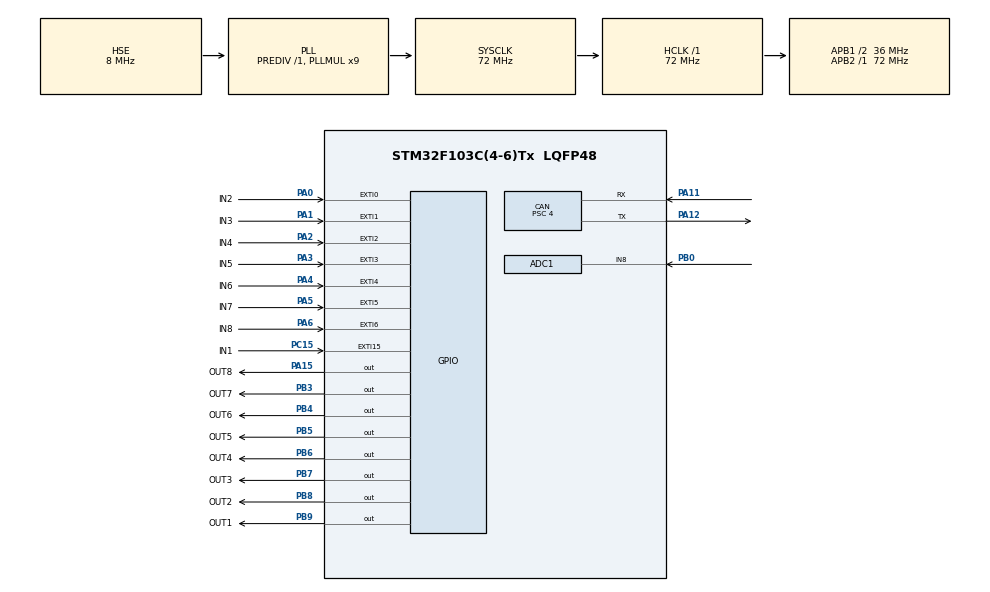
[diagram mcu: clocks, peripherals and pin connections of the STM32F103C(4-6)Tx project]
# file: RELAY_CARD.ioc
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ADC1.Channel-0\#ChannelRegularConversion=ADC_CHANNEL_8
ADC1.NbrOfConversionFlag=1
ADC1.Rank-0\#ChannelRegularConversion=1
ADC1.SamplingTime-0\#ChannelRegularConversion=ADC_SAMPLETIME_1CYCLE_5
ADC1.master=1
CAN.BS1=CAN_BS1_15TQ
CAN.BS2=CAN_BS2_2TQ
CAN.CalculateBaudRate=500000
CAN.CalculateTimeBit=2000
CAN.CalculateTimeQuantum=111.11111111111111
CAN.Prescaler=4
FREERTOS.Tasks01=defaultTask,24,128,StartDefaultTask,Default,NULL,Dynamic,NULL,NULL;can_task,24,128,StartCan,Default,NULL,Dynamic,NULL,NULL;triggered_relay,24,128,Startrelay,Default,NULL,Dynamic,NULL,NULL
Mcu.Family=STM32F1
Mcu.Name=STM32F103C(4-6)Tx
Mcu.Package=LQFP48
NVIC.EXTI0_IRQn=true\:5\:0\:false\:false\:true\:true\:true\:true\:true
NVIC.EXTI15_10_IRQn=true\:5\:0\:false\:false\:true\:true\:true\:true\:true
NVIC.EXTI1_IRQn=true\:5\:0\:false\:false\:true\:true\:true\:true\:true
NVIC.EXTI2_IRQn=true\:5\:0\:false\:false\:true\:true\:true\:true\:true
NVIC.EXTI3_IRQn=true\:5\:0\:false\:false\:true\:true\:true\:true\:true
NVIC.EXTI4_IRQn=true\:5\:0\:false\:false\:true\:true\:true\:true\:true
NVIC.EXTI9_5_IRQn=true\:5\:0\:false\:false\:true\:true\:true\:true\:true
NVIC.PriorityGroup=NVIC_PRIORITYGROUP_4
NVIC.TIM1_UP_IRQn=true\:15\:0\:false\:false\:true\:false\:false\:true\:true
NVIC.TimeBase=TIM1_UP_IRQn
NVIC.TimeBaseIP=TIM1
PA0-WKUP.GPIO_Label=IN2
PA0-WKUP.GPIO_PuPd=GPIO_PULLUP
PA0-WKUP.Signal=GPXTI0
PA1.GPIO_Label=IN3
PA1.GPIO_PuPd=GPIO_PULLUP
PA1.Signal=GPXTI1
PA11.Mode=CAN_Activate
PA11.Signal=CAN_RX
PA12.Mode=CAN_Activate
PA12.Signal=CAN_TX
PA13.Mode=Serial_Wire
PA13.Signal=SYS_JTMS-SWDIO
PA14.Mode=Serial_Wire
PA14.Signal=SYS_JTCK-SWCLK
PA15.GPIO_Label=OUT8
PA15.Signal=GPIO_Output
PA2.GPIO_Label=IN4
PA2.GPIO_PuPd=GPIO_PULLUP
PA2.Signal=GPXTI2
PA3.GPIO_Label=IN5
PA3.GPIO_PuPd=GPIO_PULLUP
PA3.Signal=GPXTI3
PA4.GPIO_Label=IN6
PA4.GPIO_PuPd=GPIO_PULLUP
PA4.Signal=GPXTI4
PA5.GPIO_Label=IN7
PA5.GPIO_PuPd=GPIO_PULLUP
PA5.Signal=GPXTI5
PA6.GPIO_Label=IN8
PA6.GPIO_PuPd=GPIO_PULLUP
PA6.Signal=GPXTI6
PB0.Signal=ADCx_IN8
PB3.GPIO_Label=OUT7
PB3.Signal=GPIO_Output
PB4.GPIO_Label=OUT6
PB4.Signal=GPIO_Output
PB5.GPIO_Label=OUT5
PB5.Signal=GPIO_Output
PB6.GPIO_Label=OUT4
PB6.GPIO_PuPd=GPIO_NOPULL
PB6.Signal=GPIO_Output
PB7.GPIO_Label=OUT3
PB7.GPIO_PuPd=GPIO_NOPULL
PB7.Signal=GPIO_Output
PB8.GPIO_Label=OUT2
PB8.GPIO_PuPd=GPIO_NOPULL
PB8.Signal=GPIO_Output
PB9.GPIO_Label=OUT1
PB9.GPIO_PuPd=GPIO_NOPULL
PB9.Signal=GPIO_Output
PC15-OSC32_OUT.GPIO_Label=IN1
PC15-OSC32_OUT.GPIO_PuPd=GPIO_PULLUP
PC15-OSC32_OUT.Signal=GPXTI15
PD0-OSC_IN.Mode=HSE-External-Oscillator
PD0-OSC_IN.Signal=RCC_OSC_IN
PD1-OSC_OUT.Mode=HSE-External-Oscillator
PD1-OSC_OUT.Signal=RCC_OSC_OUT
ProjectManager.HeapSize=0x200
ProjectManager.StackSize=0x400
ProjectManager.TargetToolchain=STM32CubeIDE
RCC.ADCPresc=RCC_ADCPCLK2_DIV6
RCC.AHBFreq_Value=72000000
RCC.APB1CLKDivider=RCC_HCLK_DIV2
RCC.APB1Freq_Value=36000000
RCC.APB1TimFreq_Value=72000000
RCC.APB2Freq_Value=72000000
RCC.APB2TimFreq_Value=72000000
RCC.HCLKFreq_Value=72000000
RCC.PLLMUL=RCC_PLL_MUL9
RCC.PLLSourceVirtual=RCC_PLLSOURCE_HSE
RCC.SYSCLKFreq_VALUE=72000000
RCC.SYSCLKSource=RCC_SYSCLKSOURCE_PLLCLK
RCC.USBFreq_Value=72000000
SH.ADCx_IN8.0=ADC1_IN8,IN8
VP_FREERTOS_VS_CMSIS_V2.Mode=CMSIS_V2
VP_SYS_VS_tim1.Mode=TIM1
board=custom

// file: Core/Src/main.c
/* USER CODE BEGIN Header */
/**
  ******************************************************************************
  * @file           : main.c
  * @brief          : Main program body
  ******************************************************************************
  * @attention
  *
  * Copyright (c) 2023 STMicroelectronics.
  * All rights reserved.
  *
  * This software is licensed under terms that can be found in the LICENSE file
  * in the root directory of this software component.
  * If no LICENSE file comes with this software, it is provided AS-IS.
  *
  ******************************************************************************
  */
/* USER CODE END Header */
#include "main.h"
#include "cmsis_os.h"

ADC_HandleTypeDef hadc1;

CAN_HandleTypeDef hcan;

/* Definitions for defaultTask */
osThreadId_t defaultTaskHandle;
const osThreadAttr_t defaultTask_attributes = {
  .name = "defaultTask",
  .stack_size = 128 * 4,
  .priority = (osPriority_t) osPriorityNormal,
};
/* Definitions for can_task */
osThreadId_t can_taskHandle;
const osThreadAttr_t can_task_attributes = {
  .name = "can_task",
  .stack_size = 128 * 4,
  .priority = (osPriority_t) osPriorityNormal,
};
/* Definitions for triggered_relay */
osThreadId_t triggered_relayHandle;
const osThreadAttr_t triggered_relay_attributes = {
  .name = "triggered_relay",
  .stack_size = 128 * 4,
  .priority = (osPriority_t) osPriorityNormal,
};
/* USER CODE BEGIN PV */
CAN_TxHeaderTypeDef pTxHeader;
CAN_RxHeaderTypeDef pRxHeader;
CAN_FilterTypeDef sFilterConfig;
uint32_t pTxMailbox;
uint8_t RxData;
uint8_t Txdata[0];
uint8_t CanReceive=0;
/* USER CODE END PV */

void SystemClock_Config(void);
static void MX_GPIO_Init(void);
static void MX_CAN_Init(void);
static void MX_ADC1_Init(void);
void StartDefaultTask(void *argument);
void StartCan(void *argument);
void Startrelay(void *argument);

/* USER CODE BEGIN 0 */
uint8_t data[8];
uint8_t compressed[2]={0,0};

int binarray_to_decimal(uint8_t array[8]){
	int cnt=0;
	for(int i=0;i<8;i++){
		cnt+= (array[i]*(1<<i));
	}
	return cnt;
}
int WaitForMission(uint8_t dest_id,uint8_t id,int timeout){
	int t_out=0;
	int r_val;
	//int durum=0;
	while(1){
		HAL_CAN_AddTxMessage(&hcan, &pTxHeader, compressed, &pTxMailbox);
		uint8_t rxData[1];
		HAL_CAN_GetRxMessage(&hcan, CAN_RX_FIFO0, &pRxHeader, rxData);
		if(rxData[0]==id && (dest_id==pRxHeader.StdId || !dest_id)){
			r_val = 1;
			break;
		}
		t_out++;
		HAL_Delay(1);
		if(t_out==timeout){
			r_val = 0;
			break;
		}
	}
	return r_val;
}
uint32_t MAP(uint32_t au32_IN, uint32_t au32_INmin, uint32_t au32_INmax, uint32_t au32_OUTmin, uint32_t au32_OUTmax)
{
    return ((((au32_IN - au32_INmin)*(au32_OUTmax - au32_OUTmin))/(au32_INmax - au32_INmin)) + au32_OUTmin);
}
/* USER CODE END 0 */

int main(void)
{

  /* MCU Configuration--------------------------------------------------------*/

  /* Reset of all peripherals, Initializes the Flash interface and the Systick. */
  HAL_Init();

  /* Configure the system clock */
  SystemClock_Config();

  /* Initialize all configured peripherals */
  MX_GPIO_Init();
  MX_CAN_Init();
  MX_ADC1_Init();
  /* USER CODE BEGIN 2 */

  HAL_CAN_Start(&hcan);   //start can communication

  //HAL_CAN_ActivateNotification(&hcan, CAN_IT_RX_FIFO0_MSG_PENDING);  // enable interrupt
  pTxHeader.DLC = 1;
  pTxHeader.IDE = CAN_ID_STD;
  pTxHeader.RTR = CAN_RTR_DATA;
  pTxHeader.StdId = 0x12;

  //set filter parameters
  sFilterConfig.FilterActivation = ENABLE;
  sFilterConfig.FilterBank = 0;
  sFilterConfig.FilterFIFOAssignment = CAN_FILTER_FIFO0;
  sFilterConfig.FilterIdHigh = 0x000<< 5;
  sFilterConfig.FilterIdLow = 0x000 << 5;
  sFilterConfig.FilterMaskIdHigh = 0x000 << 5;
  sFilterConfig.FilterMaskIdLow = 0x000 << 5;
  sFilterConfig.FilterMode = CAN_FILTERMODE_IDMASK;
  sFilterConfig.FilterScale = CAN_FILTERSCALE_32BIT;

  HAL_CAN_ConfigFilter(&hcan, &sFilterConfig);

  /* USER CODE END 2 */

  /* Init scheduler */
  osKernelInitialize();

  /* Create the thread(s) */
  /* creation of defaultTask */
  defaultTaskHandle = osThreadNew(StartDefaultTask, NULL, &defaultTask_attributes);

  /* creation of can_task */
  can_taskHandle = osThreadNew(StartCan, NULL, &can_task_attributes);

  /* creation of triggered_relay */
  triggered_relayHandle = osThreadNew(Startrelay, NULL, &triggered_relay_attributes);

  /* Start scheduler */
  osKernelStart();

  /* We should never get here as control is now taken by the scheduler */
  /* Infinite loop */
  while (1)
  {

  }
}

void SystemClock_Config(void)
{
  RCC_OscInitTypeDef RCC_OscInitStruct = {0};
  RCC_ClkInitTypeDef RCC_ClkInitStruct = {0};
  RCC_PeriphCLKInitTypeDef PeriphClkInit = {0};

  /** Initializes the RCC Oscillators according to the specified parameters
  * in the RCC_OscInitTypeDef structure.
  */
  RCC_OscInitStruct.OscillatorType = RCC_OSCILLATORTYPE_HSE;
  RCC_OscInitStruct.HSEState = RCC_HSE_ON;
  RCC_OscInitStruct.HSEPredivValue = RCC_HSE_PREDIV_DIV1;
  RCC_OscInitStruct.HSIState = RCC_HSI_ON;
  RCC_OscInitStruct.PLL.PLLState = RCC_PLL_ON;
  RCC_OscInitStruct.PLL.PLLSource = RCC_PLLSOURCE_HSE;
  RCC_OscInitStruct.PLL.PLLMUL = RCC_PLL_MUL9;
  if (HAL_RCC_OscConfig(&RCC_OscInitStruct) != HAL_OK)
  {
    Error_Handler();
  }

  /** Initializes the CPU, AHB and APB buses clocks
  */
  RCC_ClkInitStruct.ClockType = RCC_CLOCKTYPE_HCLK|RCC_CLOCKTYPE_SYSCLK
                              |RCC_CLOCKTYPE_PCLK1|RCC_CLOCKTYPE_PCLK2;
  RCC_ClkInitStruct.SYSCLKSource = RCC_SYSCLKSOURCE_PLLCLK;
  RCC_ClkInitStruct.AHBCLKDivider = RCC_SYSCLK_DIV1;
  RCC_ClkInitStruct.APB1CLKDivider = RCC_HCLK_DIV2;
  RCC_ClkInitStruct.APB2CLKDivider = RCC_HCLK_DIV1;

  if (HAL_RCC_ClockConfig(&RCC_ClkInitStruct, FLASH_LATENCY_2) != HAL_OK)
  {
    Error_Handler();
  }
  PeriphClkInit.PeriphClockSelection = RCC_PERIPHCLK_ADC;
  PeriphClkInit.AdcClockSelection = RCC_ADCPCLK2_DIV6;
  if (HAL_RCCEx_PeriphCLKConfig(&PeriphClkInit) != HAL_OK)
  {
    Error_Handler();
  }
}

static void MX_ADC1_Init(void)
{

  ADC_ChannelConfTypeDef sConfig = {0};

  /** Common config
  */
  hadc1.Instance = ADC1;
  hadc1.Init.ScanConvMode = ADC_SCAN_DISABLE;
  hadc1.Init.ContinuousConvMode = DISABLE;
  hadc1.Init.DiscontinuousConvMode = DISABLE;
  hadc1.Init.ExternalTrigConv = ADC_SOFTWARE_START;
  hadc1.Init.DataAlign = ADC_DATAALIGN_RIGHT;
  hadc1.Init.NbrOfConversion = 1;
  if (HAL_ADC_Init(&hadc1) != HAL_OK)
  {
    Error_Handler();
  }

  /** Configure Regular Channel
  */
  sConfig.Channel = ADC_CHANNEL_8;
  sConfig.Rank = ADC_REGULAR_RANK_1;
  sConfig.SamplingTime = ADC_SAMPLETIME_1CYCLE_5;
  if (HAL_ADC_ConfigChannel(&hadc1, &sConfig) != HAL_OK)
  {
    Error_Handler();
  }

}

static void MX_CAN_Init(void)
{

  hcan.Instance = CAN1;
  hcan.Init.Prescaler = 4;
  hcan.Init.Mode = CAN_MODE_NORMAL;
  hcan.Init.SyncJumpWidth = CAN_SJW_1TQ;
  hcan.Init.TimeSeg1 = CAN_BS1_15TQ;
  hcan.Init.TimeSeg2 = CAN_BS2_2TQ;
  hcan.Init.TimeTriggeredMode = DISABLE;
  hcan.Init.AutoBusOff = DISABLE;
  hcan.Init.AutoWakeUp = DISABLE;
  hcan.Init.AutoRetransmission = DISABLE;
  hcan.Init.ReceiveFifoLocked = DISABLE;
  hcan.Init.TransmitFifoPriority = DISABLE;
  if (HAL_CAN_Init(&hcan) != HAL_OK)
  {
    Error_Handler();
  }

}

static void MX_GPIO_Init(void)
{
  GPIO_InitTypeDef GPIO_InitStruct = {0};

  /* GPIO Ports Clock Enable */
  __HAL_RCC_GPIOC_CLK_ENABLE();
  __HAL_RCC_GPIOD_CLK_ENABLE();
  __HAL_RCC_GPIOA_CLK_ENABLE();
  __HAL_RCC_GPIOB_CLK_ENABLE();

  /*Configure GPIO pin Output Level */
  HAL_GPIO_WritePin(OUT8_GPIO_Port, OUT8_Pin, GPIO_PIN_RESET);

  /*Configure GPIO pin Output Level */
  HAL_GPIO_WritePin(GPIOB, OUT7_Pin|OUT6_Pin|OUT5_Pin|OUT4_Pin
                          |OUT3_Pin|OUT2_Pin|OUT1_Pin, GPIO_PIN_RESET);

  /*Configure GPIO pin : IN1_Pin */
  GPIO_InitStruct.Pin = IN1_Pin;
  GPIO_InitStruct.Mode = GPIO_MODE_IT_RISING;
  GPIO_InitStruct.Pull = GPIO_PULLUP;
  HAL_GPIO_Init(IN1_GPIO_Port, &GPIO_InitStruct);

  /*Configure GPIO pins : IN2_Pin IN3_Pin IN4_Pin IN5_Pin
                           IN6_Pin IN7_Pin IN8_Pin */
  GPIO_InitStruct.Pin = IN2_Pin|IN3_Pin|IN4_Pin|IN5_Pin
                          |IN6_Pin|IN7_Pin|IN8_Pin;
  GPIO_InitStruct.Mode = GPIO_MODE_IT_RISING;
  GPIO_InitStruct.Pull = GPIO_PULLUP;
  HAL_GPIO_Init(GPIOA, &GPIO_InitStruct);

  /*Configure GPIO pin : OUT8_Pin */
  GPIO_InitStruct.Pin = OUT8_Pin;
  GPIO_InitStruct.Mode = GPIO_MODE_OUTPUT_PP;
  GPIO_InitStruct.Pull = GPIO_NOPULL;
  GPIO_InitStruct.Speed = GPIO_SPEED_FREQ_LOW;
  HAL_GPIO_Init(OUT8_GPIO_Port, &GPIO_InitStruct);

  /*Configure GPIO pins : OUT7_Pin OUT6_Pin OUT5_Pin OUT4_Pin
                           OUT3_Pin OUT2_Pin OUT1_Pin */
  GPIO_InitStruct.Pin = OUT7_Pin|OUT6_Pin|OUT5_Pin|OUT4_Pin
                          |OUT3_Pin|OUT2_Pin|OUT1_Pin;
  GPIO_InitStruct.Mode = GPIO_MODE_OUTPUT_PP;
  GPIO_InitStruct.Pull = GPIO_NOPULL;
  GPIO_InitStruct.Speed = GPIO_SPEED_FREQ_LOW;
  HAL_GPIO_Init(GPIOB, &GPIO_InitStruct);

  /* EXTI interrupt init*/
  HAL_NVIC_SetPriority(EXTI0_IRQn, 5, 0);
  HAL_NVIC_EnableIRQ(EXTI0_IRQn);

  HAL_NVIC_SetPriority(EXTI1_IRQn, 5, 0);
  HAL_NVIC_EnableIRQ(EXTI1_IRQn);

  HAL_NVIC_SetPriority(EXTI2_IRQn, 5, 0);
  HAL_NVIC_EnableIRQ(EXTI2_IRQn);

  HAL_NVIC_SetPriority(EXTI3_IRQn, 5, 0);
  HAL_NVIC_EnableIRQ(EXTI3_IRQn);

  HAL_NVIC_SetPriority(EXTI4_IRQn, 5, 0);
  HAL_NVIC_EnableIRQ(EXTI4_IRQn);

  HAL_NVIC_SetPriority(EXTI9_5_IRQn, 5, 0);
  HAL_NVIC_EnableIRQ(EXTI9_5_IRQn);

  HAL_NVIC_SetPriority(EXTI15_10_IRQn, 5, 0);
  HAL_NVIC_EnableIRQ(EXTI15_10_IRQn);

}

void StartDefaultTask(void *argument)
{
  /* USER CODE BEGIN 5 */
  /* Infinite loop */
  for(;;)
  {
	  HAL_ADC_Start(&hadc1);
	  HAL_ADC_PollForConversion(&hadc1, 10);
	  uint16_t adc_val = HAL_ADC_GetValue(&hadc1); // gas pedal adc variable to motor drivers with can
	  HAL_ADC_Stop(&hadc1);

	  if(!HAL_GPIO_ReadPin (IN1_GPIO_Port, IN1_Pin))
	  {
		  HAL_GPIO_WritePin(OUT1_GPIO_Port, OUT1_Pin, 0);
		  data[0] = 0;
	  }
	  else
	  {
		  HAL_GPIO_WritePin(OUT1_GPIO_Port, OUT1_Pin, 1);
		  data[0] = 1;
	  }
	  //xxxxxxxxxxxxxxxxxxxxxxxxxxxxxxxxxxxxxxxxxxx
	  if(!HAL_GPIO_ReadPin (IN2_GPIO_Port, IN2_Pin))
	  {
		 data[1] = 1;
	  }
	  else
	  {
		 data[1] = 0;
	  }
	  //xxxxxxxxxxxxxxxxxxxxxxxxxxxxxxxxxxxxxxxxxxx
	  if(!HAL_GPIO_ReadPin (IN3_GPIO_Port, IN3_Pin))
	  {
		data[2] = 1;
	  }
	  else
	  {
		data[2] = 0;
	  }
	  //xxxxxxxxxxxxxxxxxxxxxxxxxxxxxxxxxxxxxxxxxxx
	  if(!HAL_GPIO_ReadPin (IN4_GPIO_Port, IN4_Pin))
	  {
		data[3] = 1;
	  }
	  else
	  {
		data[3] = 0;
	  }
	  //xxxxxxxxxxxxxxxxxxxxxxxxxxxxxxxxxxxxxxxxxxx
	  if(!HAL_GPIO_ReadPin (IN5_GPIO_Port, IN5_Pin))
	  {
		data[4] = 1;
	  }
	  else
	  {
		data[4] = 0;
	  }
	  //xxxxxxxxxxxxxxxxxxxxxxxxxxxxxxxxxxxxxxxxxxx
	  if(!HAL_GPIO_ReadPin (IN6_GPIO_Port, IN6_Pin))
	  {
		 data[5] = 1;
	  }
	  else
	  {
		 data[5] = 0;
	  }
	  //xxxxxxxxxxxxxxxxxxxxxxxxxxxxxxxxxxxxxxxxxxx
	  if(!HAL_GPIO_ReadPin (IN7_GPIO_Port, IN7_Pin))
	  {
		  data[6] = 1;
	  }
	  else
	  {
		  data[6] = 0;
	  }
	  //xxxxxxxxxxxxxxxxxxxxxxxxxxxxxxxxxxxxxxxxxxx
	  if(!HAL_GPIO_ReadPin (IN8_GPIO_Port, IN8_Pin))
	  {
		 data[7] = 1;
	  }
	  else
	  {
		 data[7] = 0;
	  }
	  compressed[0] = binarray_to_decimal(data);
	  compressed[1] = MAP(adc_val, 0, 4095, 0, 255);

  }
  /* USER CODE END 5 */
}

void StartCan(void *argument)
{
  /* USER CODE BEGIN StartCan */
	pTxHeader.StdId = 0x12;
	uint8_t id_ = pTxHeader.StdId;
	pTxHeader.DLC = 2;
  /* Infinite loop */
  for(;;)
  {
	  	  //feedback func for can
		WaitForMission(0,id_,100);
		HAL_GPIO_TogglePin(GPIOC, GPIO_PIN_13);
		//i put some delay because of if can bus transmit go fast, feedback timeout will be so short;
		HAL_Delay(50);
  }
  /* USER CODE END StartCan */
}

void Startrelay(void *argument)
{
  /* USER CODE BEGIN Startrelay */

	// tip : our task is just to trigger 2 relays in the same sequence, anothers working like normal

	uint16_t clock_=0; // clock her 500 degerinde 0a cekip sistemi sinyaller icin *delaysiz kontrol eder
	uint8_t left_signal_flag=0;
	uint8_t right_signal_flag=0;
	uint8_t signal_flag=0;

  /* Infinite loop */
	//INPUTS: 1-stop; 2-dörtlü; 3-sol; 4-sag; 5-far; 6-silecek; 7-korna; 8-switch;
	//OUTPUTS : 1-?; 2-sol; 3-?; 4-far; 5-silecek; 6-korna; 7-? 8-sag;
  for(;;)
  {

	  //OTHERS SO SIMPLE THEY DONT CONTAIN TOGGLE FOR RELAY
	  //MMMMMMMMMMMMMMMMMMMMMMMMMMMMMMMMMMMMMMMMMMMMMMMMMMMM

	  //INPUT 1 //STOP
	  //MMMMMMMMMMMMMMMMMMMMMMMMMMMMMMMMMMMMMMMMMMMMMMMMMMMM
	  if(data[0]==1)
	  {
		 HAL_GPIO_WritePin(OUT1_GPIO_Port, OUT1_Pin, 1);
	  }
	  else
	  {
		  HAL_GPIO_WritePin(OUT1_GPIO_Port, OUT1_Pin, 0);
	  }
	  //WWWWWWWWWWWWWWWWWWWWWWWWWWWWWWWWWWWWWWWWWWWWWWWWWWWW
	  //INPUT 1

	  //INPUT 2 //DORTLU
	  //MMMMMMMMMMMMMMMMMMMMMMMMMMMMMMMMMMMMMMMMMMMMMMMMMMMM
	  if(data[1]==1)
	  {
		  signal_flag=1;
	  }
	  else
	  {
		  signal_flag=0;
	  }
	  //WWWWWWWWWWWWWWWWWWWWWWWWWWWWWWWWWWWWWWWWWWWWWWWWWWWW
	  //INPUT 2

	  /*                    !? TOGGLE ?!				  */
	  //INPUT 3 //SOL
	  //MMMMMMMMMMMMMMMMMMMMMMMMMMMMMMMMMMMMMMMMMMMMMMMMMMMM
	  if(data[2]==1 || signal_flag)
	  {
		  left_signal_flag=1;
		  if(clock_<101){
			 HAL_GPIO_WritePin(OUT2_GPIO_Port, OUT2_Pin, 1);
		  }
		  else{
			 HAL_GPIO_WritePin(OUT2_GPIO_Port, OUT2_Pin, 0);
		  }
	  }
	  else
	  {
		  left_signal_flag=0;
		  HAL_GPIO_WritePin(OUT2_GPIO_Port, OUT1_Pin, 0);
	  }
	  //WWWWWWWWWWWWWWWWWWWWWWWWWWWWWWWWWWWWWWWWWWWWWWWWWWWW
	  //INPUT 3

	  /*                    !? TOGGLE ?!				  */
	  //INPUT 4 //SAG
	  //MMMMMMMMMMMMMMMMMMMMMMMMMMMMMMMMMMMMMMMMMMMMMMMMMMMM
	  if(data[3]==1 || signal_flag)
	  {
		  right_signal_flag=1;
		  if(clock_<101){
			 HAL_GPIO_WritePin(OUT8_GPIO_Port, OUT8_Pin, 1);
		  }
		  else{
			 HAL_GPIO_WritePin(OUT8_GPIO_Port, OUT8_Pin, 0);
		  }
	  }
	  else
	  {
		  right_signal_flag=0;
		  HAL_GPIO_WritePin(OUT8_GPIO_Port, OUT8_Pin, 0);
	  }
	  //WWWWWWWWWWWWWWWWWWWWWWWWWWWWWWWWWWWWWWWWWWWWWWWWWWWW
	  //INPUT 4

	  //INPUT 5 //FAR
	  //MMMMMMMMMMMMMMMMMMMMMMMMMMMMMMMMMMMMMMMMMMMMMMMMMMMM
	  if(data[4]==1)
	  {
		  HAL_GPIO_WritePin(OUT4_GPIO_Port, OUT4_Pin, 1);
		  //HAL_GPIO_WritePin(OUT3_GPIO_Port, OUT3_Pin, 1);
	  }
	  else
	  {
		  HAL_GPIO_WritePin(OUT4_GPIO_Port, OUT4_Pin, 0);
		  //HAL_GPIO_WritePin(OUT3_GPIO_Port, OUT3_Pin, 0);
	  }
	  //WWWWWWWWWWWWWWWWWWWWWWWWWWWWWWWWWWWWWWWWWWWWWWWWWWWW
	  //INPUT 5

	  //INPUT 6 //SILECEK
	  //MMMMMMMMMMMMMMMMMMMMMMMMMMMMMMMMMMMMMMMMMMMMMMMMMMMM
	  if(data[5]==1)
	  {
		 HAL_GPIO_WritePin(OUT5_GPIO_Port, OUT5_Pin, 1);
	  }
	  else
	  {
		  HAL_GPIO_WritePin(OUT5_GPIO_Port, OUT5_Pin, 0);
	  }
	  //WWWWWWWWWWWWWWWWWWWWWWWWWWWWWWWWWWWWWWWWWWWWWWWWWWWW
	  //INPUT 6

	  //INPUT 7 //KORNA
	  //MMMMMMMMMMMMMMMMMMMMMMMMMMMMMMMMMMMMMMMMMMMMMMMMMMMM
	  if(data[6]==1)
	  {
		 HAL_GPIO_WritePin(OUT6_GPIO_Port, OUT6_Pin, 1);
	  }
	  else
	  {
		  HAL_GPIO_WritePin(OUT6_GPIO_Port, OUT6_Pin, 0);
	  }
	  //WWWWWWWWWWWWWWWWWWWWWWWWWWWWWWWWWWWWWWWWWWWWWWWWWWWW
	  //INPUT 7

	  /*INPUT 8 //SWITCH
	  //MMMMMMMMMMMMMMMMMMMMMMMMMMMMMMMMMMMMMMMMMMMMMMMMMMMM
	  if(data[7]==1)
	  {
		 HAL_GPIO_WritePin(OUT6_GPIO_Port, OUT6_Pin, 1);
	  }
	  else
	  {
		  HAL_GPIO_WritePin(OUT6_GPIO_Port, OUT6_Pin, 0);
	  }
	  //WWWWWWWWWWWWWWWWWWWWWWWWWWWWWWWWWWWWWWWWWWWWWWWWWWWW
	  //INPUT 8*/

	  //WWWWWWWWWWWWWWWWWWWWWWWWWWWWWWWWWWWWWWWWWWWWWWWWWWWW

	  //CLOCK TIME!!!!!!!
	  if(right_signal_flag || left_signal_flag){
		  clock_++;

		  if(clock_>200){//if >500 reset clock time
			  clock_=0;
		  }
	  }
	  else{
		  clock_=0;
	  }
	  HAL_Delay(1);
  }
  /* USER CODE END Startrelay */
}

void HAL_TIM_PeriodElapsedCallback(TIM_HandleTypeDef *htim)
{
  if (htim->Instance == TIM1) {
    HAL_IncTick();
  }
}

void Error_Handler(void)
{
  __disable_irq();
  while (1)
  {
  }
}
